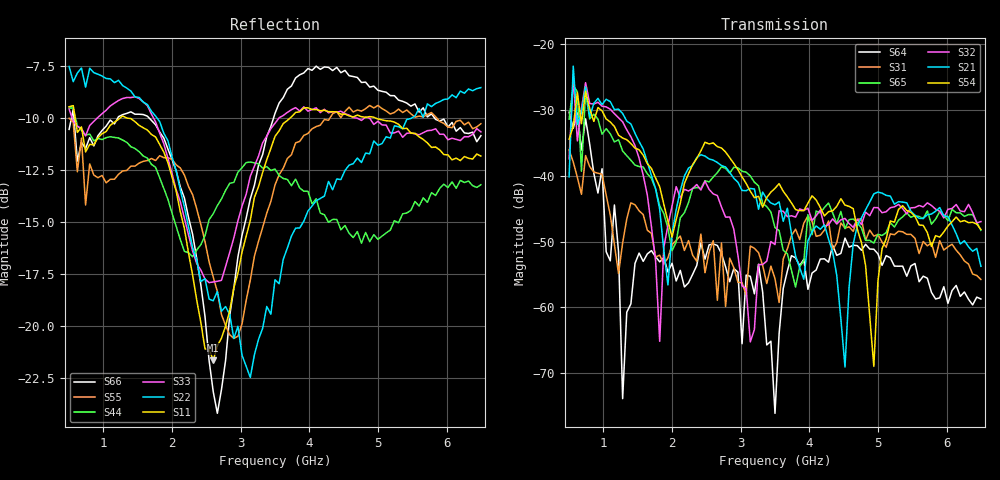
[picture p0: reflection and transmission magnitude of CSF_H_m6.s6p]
!Keysight Technologies,M9804A,MY58100912,A.14.10.03
!Date: Thursday, April 27, 2023 10:28:33
!Correction: S11(C  6-Port  )
!S12(C  6-Port  )
!S13(C  6-Port  )
!S14(C  6-Port  )
!S15(C  6-Port  )
!S16(C  6-Port  )
!S21(C  6-Port  )
!S22(C  6-Port  )
!S23(C  6-Port  )
!S24(C  6-Port  )
!S25(C  6-Port  )
!S26(C  6-Port  )
!S31(C  6-Port  )
!S32(C  6-Port  )
!S33(C  6-Port  )
!S34(C  6-Port  )
!S35(C  6-Port  )
!S36(C  6-Port  )
!S41(C  6-Port  )
!S42(C  6-Port  )
!S43(C  6-Port  )
!S44(C  6-Port  )
!S45(C  6-Port  )
!S46(C  6-Port  )
!S51(C  6-Port  )
!S52(C  6-Port  )
!S53(C  6-Port  )
!S54(C  6-Port  )
!S55(C  6-Port  )
!S56(C  6-Port  )
!S61(C  6-Port  )
!S62(C  6-Port  )
!S63(C  6-Port  )
!S64(C  6-Port  )
!S65(C  6-Port  )
!S66(C  6-Port  )
!S6P File: Measurement: :
# Hz S  RI  R 50
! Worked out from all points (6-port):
!   101 points, 500 MHz to 6.5 GHz, reference 50 ohm
!   strongest paths, dB at 500 MHz, 2 GHz, 3.5 GHz, 5 GHz, 6.5 GHz:
!     S54: -34.4, -49.3, -41.9, -56.0, -48.1
!     S21: -40.2, -48.7, -44.4, -42.5, -53.8
!     S32: -37.4, -44.6, -50.5, -44.8, -47.0
!     S65: -31.4, -51.4, -47.9, -48.9, -48.3
!     S31: -36.1, -50.5, -55.6, -48.9, -55.8
!     S64: -30.4, -53.3, -76.1, -51.9, -58.7
!   lowest |S11| = -21.6 dB at 2.6 GHz (marker M1), VSWR 1.18, Z = 42.6 + j2.04 ohm
!   |S11| at or under -10 dB: 588.2 MHz to 1.239 GHz (650.9 MHz wide, 71.2 % of centre); 1.363 GHz to 3.717 GHz (2.354 GHz wide, 92.7 % of centre); 4.974 GHz to end of sweep
